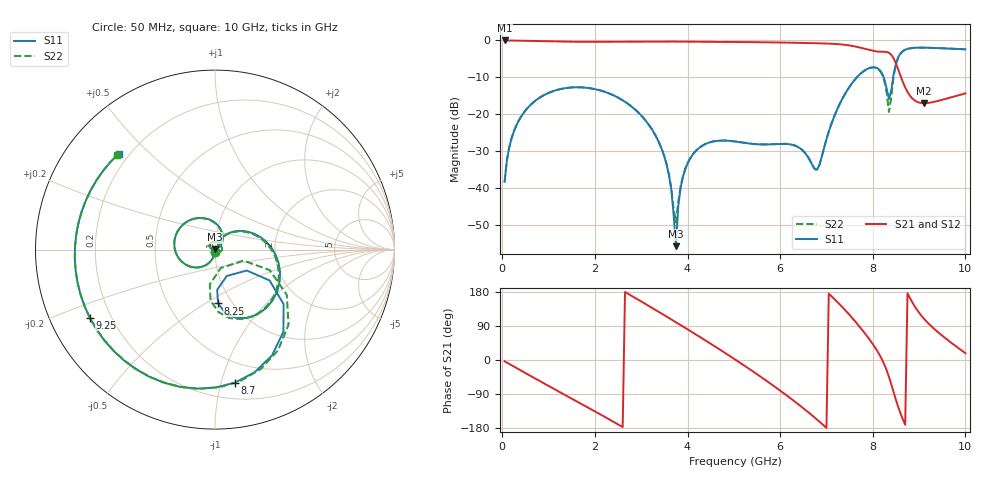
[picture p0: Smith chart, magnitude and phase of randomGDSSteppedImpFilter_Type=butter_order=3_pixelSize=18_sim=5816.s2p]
! freq	dB(S11)	phase(S11)	dB(S12)	phase(S12)
!  dB(S21)	phase(S21)	dB(S22)	phase(S22)
!S-par simulation data
#  GHz  S  DB  R 50
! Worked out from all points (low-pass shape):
!   200 points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, 50 MHz to 10 GHz, reference 50 ohm
!   highest |S21| = -0.01 dB at 50 MHz (marker M1); lowest = -17.0 dB at 9.1 GHz (marker M2)
!   |S21| within 3 dB of the highest: start of sweep to 8.106 GHz
!   lowest |S11| = -55.7 dB at 3.75 GHz (marker M3), VSWR 1.00, Z = 49.9 + j0.126 ohm
!   |S11| at or under -10 dB: start of sweep to 7.656 GHz; 8.236 GHz to 8.44 GHz (204.4 MHz wide, 2.45 % of centre)
!   |S22| runs from -49.3 to -2.0 dB; largest |S21 - S12| = 0
!   S11 on the Smith chart (normalised r, x): 50 MHz: 1.00, -0.02; 8.25 GHz: 0.86, -0.57; 8.7 GHz: 0.33, -1.11; 9.25 GHz: 0.12, -0.25; 10 GHz: 0.16, +0.40
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0.05  -38.26 -90.9  -0.01 -3.5  -0.01 -3.5  -38.24 -91.2
0.5  -18.97 -124.9  -0.10 -34.5  -0.10 -34.5  -18.96 -124.8
1.75  -12.73 150.6  -0.39 -118.6  -0.39 -118.6  -12.73 151.2
2.6  -16.20 92.5  -0.33 -177.0  -0.33 -177.0  -16.19 93.7
3.4  -28.09 36.7  -0.30 125.5  -0.30 125.5  -28.06 40.5
3.6  -36.49 25.4  -0.31 110.8  -0.31 110.8  -36.32 33.8
3.75  -55.67 130.1  -0.32 99.7  -0.32 99.7  -49.27 114.8
3.85  -39.93 173.3  -0.32 92.2  -0.32 92.2  -39.54 164.3
4.05  -32.10 163.1  -0.34 77.2  -0.34 77.2  -32.03 160.5
5.05  -27.39 87.5  -0.43 -0.4  -0.43 -0.4  -27.37 89.1
5.95  -28.02 19.6  -0.56 -76.3  -0.56 -76.3  -27.99 21.1
6.7  -33.82 -5.5  -0.73 -147.2  -0.73 -147.2  -33.85 -5.9
7.15  -21.13 57.2  -0.93 163.5  -0.93 163.5  -21.13 56.4
7.6  -10.81 8.9  -1.59 104.8  -1.59 104.8  -10.83 7.3
7.95  -7.37 -41.2  -2.67 50.8  -2.67 50.8  -7.43 -44.0
8.25  -10.45 -86.8  -3.08 -12.0  -3.08 -12.0  -10.92 -95.1
8.35  -15.87 -65.9  -3.35 -44.7  -3.35 -44.7  -19.36 -72.6
8.5  -6.23 -38.5  -6.23 -105.2  -6.23 -105.2  -6.50 -32.3
8.7  -2.51 -81.4  -12.70 -170.8  -12.70 -170.8  -2.55 -79.0
9.1  -1.95 -135.3  -16.99 109.7  -16.99 109.7  -1.96 -134.4
9.25  -2.00 -151.5  -16.81 90.6  -16.81 90.6  -2.01 -150.8
10  -2.41 135.1  -14.33 18.0  -14.33 18.0  -2.40 135.8
